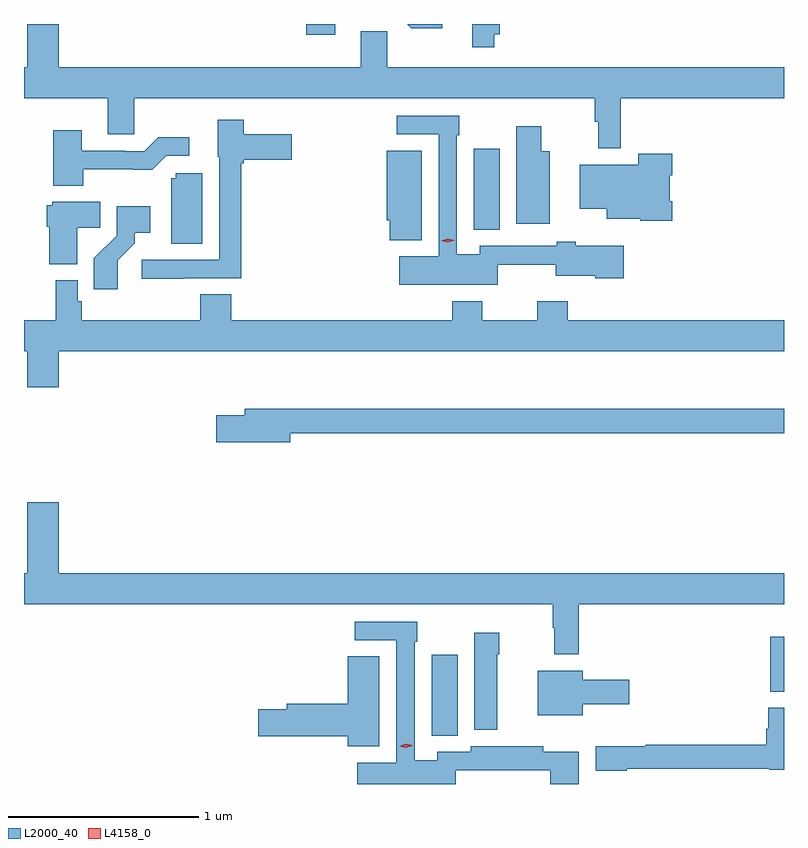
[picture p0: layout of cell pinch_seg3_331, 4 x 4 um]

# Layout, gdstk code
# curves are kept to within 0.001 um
import gdstk
lib = gdstk.Library(unit=1e-6, precision=1e-09)
def R(c, l, rs):  # rectangles x0, y0, x1, y1
    for r in rs: c.add(gdstk.rectangle(r[:2], r[2:], *l))
def P(c, l, *ps):  # polygons
    for p in ps: c.add(gdstk.Polygon(p, *l))
L2000_40 = (2000, 40)
L4158_0 = (4158, 0)

pinch_seg3_331 = lib.new_cell('pinch_seg3_331')
R(pinch_seg3_331, L2000_40, [(982.319,716.209,982.456,716.635), (984.101,716.441,984.174,716.731), (982.541,718.873,982.678,719.299), (981.659,719.898,981.811,719.955)])
P(pinch_seg3_331, L2000_40, [(982.375,719.955),(982.191,719.955),(982.213,719.933),(982.375,719.933)],
  [(983.315,719.564),(984.174,719.564),(984.174,719.728),(982.086,719.728),(982.086,719.918),(981.947,719.918),(981.947,719.728),(980.356,719.728),(980.356,719.955),(980.192,719.955),(980.192,719.728),(980.174,719.728),(980.174,719.564),(980.615,719.564),(980.615,719.374),(980.754,719.374),(980.754,719.564),(983.179,719.564),(983.179,719.441),(983.197,719.441),(983.197,719.301),(983.315,719.301)],
  [(982.649,719.9),(982.679,719.9),(982.679,719.955),(982.532,719.955),(982.532,719.832),(982.649,719.832)],
  [(982.668,718.687),(982.973,718.687),(982.973,718.631),(983.181,718.631),(983.181,718.616),(983.33,718.616),(983.33,718.789),(983.077,718.789),(983.077,718.808),(982.977,718.808),(982.977,718.788),(982.572,718.788),(982.572,718.744),(982.452,718.744),(982.452,719.369),(982.465,719.369),(982.465,719.472),(982.137,719.472),(982.137,719.376),(982.356,719.376),(982.356,718.732),(982.149,718.732),(982.149,718.583),(982.668,718.583)],
  [(981.017,718.617),(981.317,718.617),(981.317,719.222),(981.33,719.222),(981.33,719.24),(981.583,719.24),(981.583,719.374),(981.33,719.374),(981.33,719.452),(981.194,719.452),(981.194,719.256),(981.201,719.256),(981.201,718.713),(980.793,718.713),(980.793,718.615),(981.017,718.615)],
  [(982.942,719.284),(982.896,719.284),(982.896,719.416),(982.766,719.416),(982.766,718.904),(982.942,718.904)],
  [(980.487,719.19),(980.849,719.189),(980.922,719.262),(981.043,719.262),(981.043,719.359),(980.881,719.359),(980.808,719.286),(980.708,719.286),(980.708,719.289),(980.479,719.289),(980.479,719.395),(980.327,719.395),(980.327,719.105),(980.487,719.105)],
  [(982.267,719.287),(982.082,719.287),(982.082,718.923),(982.1,718.923),(982.1,718.817),(982.267,718.817)],
  [(983.585,719.023),(983.572,719.023),(983.572,719.159),(983.585,719.159),(983.585,719.272),(983.407,719.272),(983.407,719.215),(983.099,719.215),(983.099,718.982),(983.24,718.982),(983.24,718.931),(983.418,718.931),(983.418,718.919),(983.585,718.919)],
  [(981.112,719.169),(980.973,719.169),(980.973,719.142),(980.948,719.142),(980.948,718.798),(981.112,718.798)],
  [(980.455,718.882),(980.576,718.882),(980.576,719.02),(980.322,719.02),(980.322,719.001),(980.294,719.001),(980.294,718.887),(980.306,718.887),(980.306,718.691),(980.455,718.691)],
  [(980.668,718.711),(980.758,718.801),(980.758,718.856),(980.839,718.856),(980.839,718.996),(980.661,718.996),(980.661,718.841),(980.542,718.722),(980.542,718.56),(980.668,718.56)],
  [(980.356,718.232),(984.174,718.232),(984.174,718.396),(983.036,718.396),(983.036,718.495),(982.876,718.495),(982.876,718.396),(982.587,718.396),(982.587,718.495),(982.427,718.495),(982.427,718.396),(981.266,718.396),(981.266,718.532),(981.101,718.532),(981.101,718.396),(980.477,718.396),(980.477,718.497),(980.457,718.497),(980.457,718.606),(980.341,718.606),(980.341,718.396),(980.174,718.396),(980.174,718.232),(980.192,718.232),(980.192,718.044),(980.356,718.044)],
  [(981.574,717.802),(984.174,717.802),(984.174,717.931),(981.335,717.931),(981.335,717.897),(981.186,717.897),(981.186,717.755),(981.574,717.755)],
  [(983.093,716.9),(984.174,716.9),(984.174,717.064),(980.356,717.064),(980.356,717.439),(980.192,717.439),(980.192,717.064),(980.174,717.064),(980.174,716.9),(982.957,716.9),(982.957,716.777),(982.965,716.777),(982.965,716.637),(983.093,716.637)],
  [(982.446,716.027),(982.943,716.027),(982.943,715.955),(983.095,715.955),(983.095,716.126),(982.906,716.126),(982.906,716.155),(982.526,716.155),(982.526,716.124),(982.35,716.124),(982.35,716.08),(982.23,716.08),(982.23,716.705),(982.243,716.705),(982.243,716.808),(981.915,716.808),(981.915,716.712),(982.134,716.712),(982.134,716.068),(981.927,716.068),(981.927,715.955),(982.446,715.955)],
  [(982.666,716.639),(982.674,716.639),(982.674,716.752),(982.544,716.752),(982.544,716.24),(982.666,716.24)],
  [(982.045,716.627),(981.878,716.627),(981.878,716.378),(981.557,716.378),(981.557,716.348),(981.408,716.348),(981.408,716.206),(981.878,716.206),(981.878,716.153),(982.045,716.153)],
  [(983.116,716.375),(983.359,716.375),(983.359,716.505),(983.116,716.505),(983.116,716.551),(982.877,716.551),(982.877,716.318),(983.116,716.318)],
  [(983.346,716.034),(984.096,716.034),(984.096,716.03),(984.174,716.03),(984.174,716.356),(984.092,716.356),(984.092,716.246),(984.08,716.246),(984.08,716.162),(983.446,716.162),(983.446,716.155),(983.184,716.155),(983.184,716.026),(983.346,716.026)])
P(pinch_seg3_331, L4158_0, [(982.183,716.146),(982.148,716.155),(982.148,716.155),(982.148,716.155),(982.182,716.166),(982.217,716.158),(982.217,716.157),(982.217,716.157)],
  [(982.405,718.806),(982.37,718.815),(982.37,718.815),(982.37,718.815),(982.405,718.826),(982.44,718.817),(982.44,718.816),(982.44,718.816)])

lib.write_gds('pinch_seg3_331.gds')
